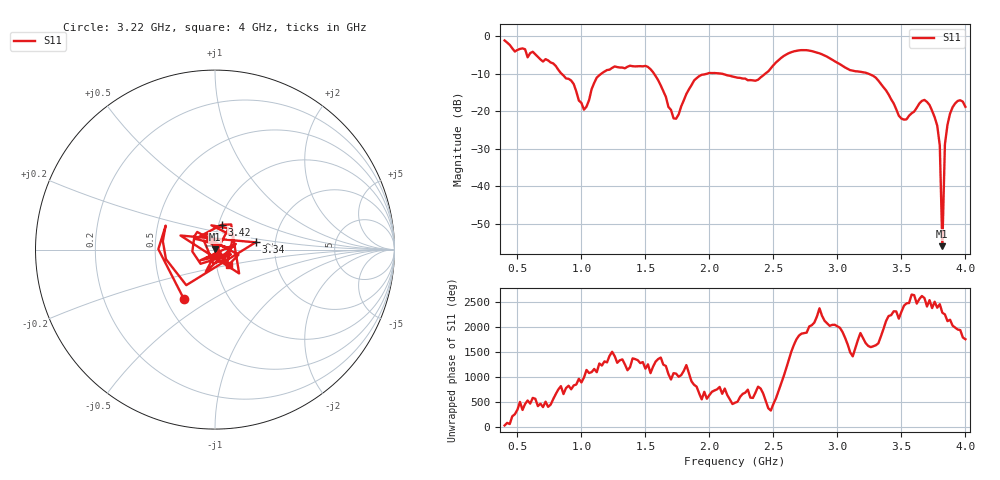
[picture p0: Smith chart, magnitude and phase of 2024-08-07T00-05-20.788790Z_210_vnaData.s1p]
!Created with skrf (http://scikit-rf.org).
# Hz S RI R 50.0
!freq ReS11 ImS11
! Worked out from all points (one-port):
!   181 points, 400 MHz to 4 GHz, reference 50 ohm
!   lowest |S11| = -55.9 dB at 3.82 GHz (marker M1), VSWR 1.00, Z = 49.9 + j0.134 ohm
!   |S11| at or under -10 dB: 1.567 GHz to 1.986 GHz (419.6 MHz wide, 23.6 % of centre); 2.087 GHz to 2.438 GHz (350.6 MHz wide, 15.5 % of centre); 3.239 GHz to end of sweep (the widest 3 of 4)
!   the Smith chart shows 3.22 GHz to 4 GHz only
!   S11 on the Smith chart (normalised r, x): 3.22 GHz: 0.62, -0.38; 3.34 GHz: 1.58, +0.13; 3.42 GHz: 1.04, +0.29; 4 GHz: 1.15, -0.20
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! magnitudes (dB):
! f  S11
! 400 MHz  -1.2
! 860 MHz  -10.5
! 940 MHz  -12.8
! 1.02 GHz  -19.6
! 1.12 GHz  -11.1
! 1.3 GHz  -8.4
! 1.52 GHz  -8.2
! 1.6 GHz  -11.8
! 1.72 GHz  -21.9
! 1.76 GHz  -20.9
! 1.92 GHz  -10.7
! 2.2 GHz  -10.9
! 2.38 GHz  -11.6
! 2.66 GHz  -4.1
! 3.1 GHz  -9.1
! 3.22 GHz  -9.8
! 3.34 GHz  -12.8
! 3.42 GHz  -16.9
! 3.5 GHz  -22.0
! 3.56 GHz  -21.2
! 3.68 GHz  -17.0
! 3.78 GHz  -23.9
! 3.8 GHz  -29.1
! 3.82 GHz  -55.9
! 3.84 GHz  -28.8
! 3.86 GHz  -23.6
! 3.92 GHz  -17.9
! 4 GHz  -18.9
